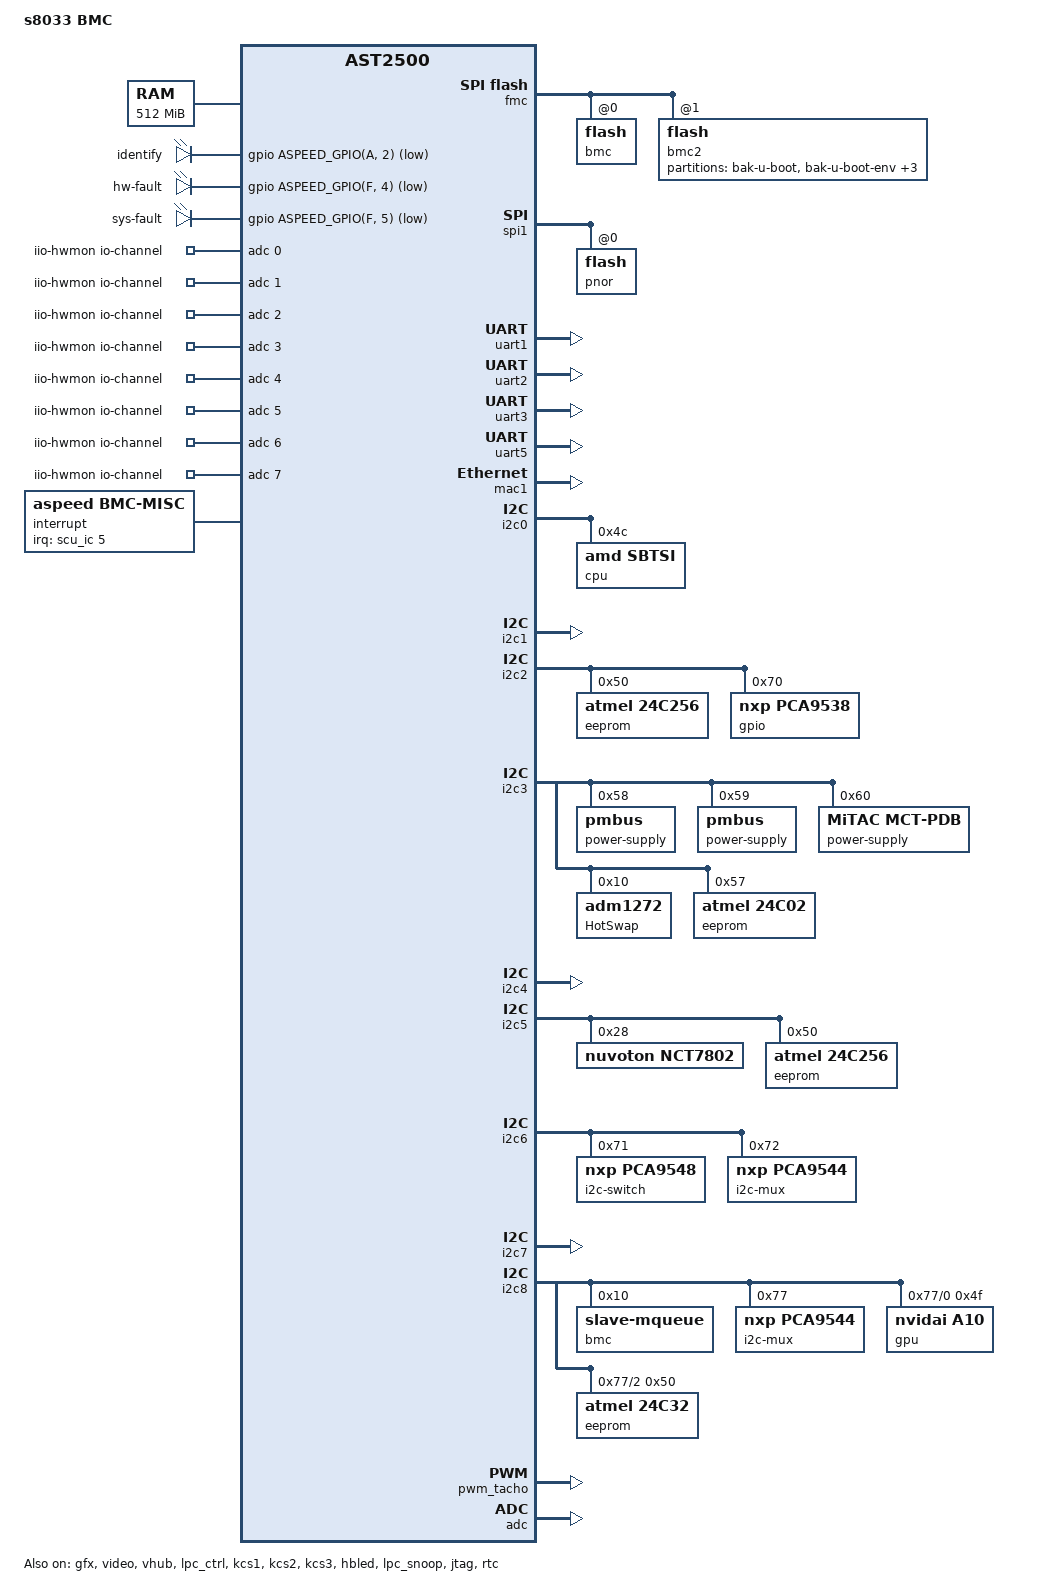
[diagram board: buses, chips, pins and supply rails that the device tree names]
// SPDX-License-Identifier: GPL-2.0
// Copyright (c) 2017 Intel Corporation
/dts-v1/;

#include "aspeed-g5.dtsi"
#include <dt-bindings/gpio/aspeed-gpio.h>

/ {
    model = "s8033 BMC";
    compatible = "mct,s8033-bmc", "aspeed,ast2500";

    chosen {
        stdout-path = &uart5;
        bootargs = "earlyprintk";
    };

    memory {
        reg = <0x80000000 0x20000000>;
    };

    reserved-memory {
        #address-cells = <1>;
        #size-cells = <1>;
        ranges;

		gfx_memory: framebuffer@96000000 {
			no-map;
			compatible = "shared-dma-pool";
			reg = <0x96000000 0x02000000>; /* 32M */
        };

        flash_memory: region@98000000 {
            no-map;
            reg = <0x98000000 0x02000000>; /* 32M */
        };

		ramoops@9c000000 {
			compatible = "ramoops";
			reg = <0x9b000000 0x180000>; /* 16 * (3 * 0x8000) */
			record-size = <0x8000>;
			console-size = <0x8000>;
			pmsg-size = <0x8000>;
			max-reason = <3>; /* KMSG_DUMP_EMERG */
		};

		vga_memory: framebuffer@9f000000 {
			no-map;
			compatible = "shared-dma-pool";
			reg = <0x9c000000 0x01000000>; /* 64M */
        };

    };

    vga-shared-memory {
        compatible = "aspeed,ast2500-vga-sharedmem";
        reg = <0x9ff00000 0x100000>;
    };

    leds {
        compatible = "gpio-leds";

        identify {
            gpios = <&gpio ASPEED_GPIO(A, 2) GPIO_ACTIVE_LOW>;
        };

        hw-fault {
            gpios = <&gpio ASPEED_GPIO(F, 4) GPIO_ACTIVE_LOW>;
        };

        sys-fault {
            gpios = <&gpio ASPEED_GPIO(F, 5) GPIO_ACTIVE_LOW>;
        };
    };

    iio-hwmon {
        compatible = "iio-hwmon";
        io-channels = <&adc 0>, <&adc 1>, <&adc 2>, <&adc 3>,
            <&adc 4>, <&adc 5>, <&adc 6>, <&adc 7>,
            <&adc 8>, <&adc 9>, <&adc 10>, <&adc 11>,
            <&adc 12>, <&adc 13>, <&adc 14>, <&adc 15>;
    };
};

&fmc {
    status = "okay";
    flash@0 {
        status = "okay";
        m25p,fast-read;
        label = "bmc";
#include "openbmc-flash-layout-64.dtsi"
    };

    flash@1 {
        status = "okay";
        m25p,fast-read;
        label = "bmc2";

        partitions {
            compatible = "fixed-partitions";
            #address-cells = <1>;
            #size-cells = <1>;

            u-boot@0 {
                reg = <0x0 0xe0000>; // 896KB
                label = "bak-u-boot";
            };

            u-boot-env@e0000 {
                reg = <0xe0000 0x20000>; // 128KB
                label = "bak-u-boot-env";
            };

            kernel@100000 {
                reg = <0x100000 0x900000>; // 9MB
                label = "bak-kernel";
            };

            rofs@a00000 {
                reg = <0xa00000 0x2000000>; // 32MB
                label = "bak-rofs";
            };

            rwfs@2a00000 {
                reg = <0x2a00000 0x1600000>; // 22MB
                label = "bak-rwfs";
            };
        };
	};
};

&spi1 {
    status = "okay";
    pinctrl-names = "default";
    pinctrl-0 = <&pinctrl_spi1_default>;

    flash@0 {
        status = "okay";
        m25p,fast-read;
        label = "pnor";
    };
};

&uart1 {
    status = "okay";
    pinctrl-names = "default";
    pinctrl-0 = <&pinctrl_txd1_default
                 &pinctrl_rxd1_default
                 &pinctrl_ncts1_default
                 &pinctrl_ndcd1_default
                 &pinctrl_ndsr1_default
                 &pinctrl_nri1_default
                 &pinctrl_ndtr1_default
                 &pinctrl_nrts1_default>;
};

&uart2 {
    status = "okay";
    pinctrl-names = "default";
    pinctrl-0 = <&pinctrl_txd2_default
                 &pinctrl_rxd2_default>;
};

&uart3 {
    status = "okay";
};

&uart5 {
    status = "okay";
};

&mac1 {
    status = "okay";

    pinctrl-names = "default";
    pinctrl-0 = <&pinctrl_rgmii2_default>;
};

&i2c0 {
    status = "okay";
    cpu@4c {
        compatible = "amd,sbtsi";
        reg = <0x4c>;
    };
};

&i2c1 {
    status = "okay";
};

&i2c2 {
    status = "okay";
    eeprom@50 {
        compatible = "atmel,24c256";
        reg = <0x50>;
        pagesize = <32>;
    };
    gpio@70 {
        compatible = "nxp,pca9538";
        reg = <0x70>;
        gpio-controller;
        #gpio-cells = <2>;
        gpio-line-names = "FAN_PRESENT0", "FAN_PRESENT1",
                          "FAN_PRESENT2", "FAN_PRESENT3",
                          "FAN_PRESENT4", "FAN_PRESENT5",
                          "FAN_PRESENT6", "FAN_PRESENT7";
    };
};

&i2c3 {
    status = "okay";
    power-supply@58 {
        compatible = "pmbus";
        reg = <0x58>;
    };
    power-supply@59 {
        compatible = "pmbus";
        reg = <0x59>;
    };
    power-supply@60 {
        compatible = "MiTAC,mct-pdb";
        reg = <0x60>;
    };
    HotSwap@10 {
        compatible = "adm1272";
        reg = <0x10>;
    };
    eeprom@57 {
        compatible = "atmel,24c02";
        reg = <0x57>;
        pagesize = <8>;
    };
};

&i2c4 {
    status = "okay";
};

&i2c5 {
    status = "okay";
    nct7802@28 {
        compatible = "nuvoton,nct7802";
        reg = <0x28>;
    };
    eeprom@50 {
        compatible = "atmel,24c256";
        reg = <0x50>;
        pagesize = <32>;
    };
};

&i2c6 {
    status = "okay";
    i2c-switch@71 {
        compatible = "nxp,pca9548";
        #address-cells = <1>;
        #size-cells = <0>;
        reg = <0x71>;
        i2c-mux-idle-disconnect;

        mux1_ch0:i2c@0 {
            #address-cells = <1>;
            #size-cells = <0>;
            reg = <0>;
        };

        mux1_ch1:i2c@1 {
            #address-cells = <1>;
            #size-cells = <0>;
            reg = <1>;
        };

        mux1_ch2:i2c@2 {
            #address-cells = <1>;
            #size-cells = <0>;
            reg = <2>;
        };

        mux1_ch3:i2c@3 {
            #address-cells = <1>;
            #size-cells = <0>;
            reg = <3>;
        };

        mux1_ch4:i2c@4 {
            #address-cells = <1>;
            #size-cells = <0>;
            reg = <4>;
        };

        mux1_ch5:i2c@5 {
            #address-cells = <1>;
            #size-cells = <0>;
            reg = <5>;
        };

        mux1_ch6:i2c@6 {
            #address-cells = <1>;
            #size-cells = <0>;
            reg = <6>;
        };

        mux1_ch7:i2c@7 {
            #address-cells = <1>;
            #size-cells = <0>;
            reg = <7>;
        };
    };
    i2c-mux@72 {
        compatible = "nxp,pca9544";
        #address-cells = <1>;
        #size-cells = <0>;
        reg = <0x72>;
        i2c-mux-idle-disconnect;

        i2c@0 {
            #address-cells = <1>;
            #size-cells = <0>;
            reg = <0>;
        };

        i2c@1 {
            #address-cells = <1>;
            #size-cells = <0>;
            reg = <1>;
        };

        i2c@2 {
            #address-cells = <1>;
            #size-cells = <0>;
            reg = <2>;
        };

        i2c@3 {
            #address-cells = <1>;
            #size-cells = <0>;
            reg = <3>;
        };
    };
};

&i2c7 {
    status = "okay";
    multi-master;
};

&i2c8 {
    status = "okay";
    multi-master;

    bmc@10 {
        compatible = ",slave-mqueue";
        reg = <0x10>;
    };

    i2c-mux@77 {
        compatible = "nxp,pca9544";
        #address-cells = <1>;
        #size-cells = <0>;
        reg = <0x77>;

        i2c@0 {
            #address-cells = <1>;
            #size-cells = <0>;
            reg = <0>;
            gpu@4f {
                compatible = "nvidai,a10";
                reg = <0x4f>;
            };
        };

        i2c@1 {
            #address-cells = <1>;
            #size-cells = <0>;
            reg = <1>;
        };

        i2c@2 {
            #address-cells = <1>;
            #size-cells = <0>;
            reg = <2>;

            eeprom@50 {
                compatible = "atmel,24c32";
                reg = <0x50>;
                pagesize = <32>;
            };
        };

        i2c@3 {
            #address-cells = <1>;
            #size-cells = <0>;
            reg = <3>;
        };
    };
    
};

&gfx {
       status = "okay";
       memory-region = <&gfx_memory>;
};

&video {
       status = "okay";
       memory-region = <&gfx_memory>;
};

&vhub {
       status = "okay";
};

&pwm_tacho {
    status = "okay";
    pinctrl-names = "default";
    pinctrl-0 = <&pinctrl_pwm0_default &pinctrl_pwm1_default &pinctrl_pwm2_default &pinctrl_pwm3_default &pinctrl_pwm4_default &pinctrl_pwm5_default>;
    sysfan1@0 {
        reg = <0x00>;
        aspeed,fan-tach-ch = /bits/ 8 <0x00>;
    };

    sysfan2@1 {
        reg = <0x01>;
        aspeed,fan-tach-ch = /bits/ 8 <0x01>;
    };

    sysfan3@2 {
        reg = <0x02>;
        aspeed,fan-tach-ch = /bits/ 8 <0x02>;
    };

    sysfan4@3 {
        reg = <0x02>;
        aspeed,fan-tach-ch = /bits/ 8 <0x03>;
    };

    sysfan5@4 {
        reg = <0x03>;
        aspeed,fan-tach-ch = /bits/ 8 <0x04>;
    };

    sysfan6@5 {
        reg = <0x03>;
        aspeed,fan-tach-ch = /bits/ 8 <0x05>;
    };

    sysfan7@6 {
        reg = <0x04>;
        aspeed,fan-tach-ch = /bits/ 8 <0x06>;
    };

    sysfan8@7 {
        reg = <0x05>;
        aspeed,fan-tach-ch = /bits/ 8 <0x07>;
    };

    sysfan9@8 {
        reg = <0x00>;
        aspeed,fan-tach-ch = /bits/ 8 <0x08>;
    };

    sysfan10@9 {
        reg = <0x01>;
        aspeed,fan-tach-ch = /bits/ 8 <0x09>;
    };

    sysfan11@10 {
        reg = <0x02>;
        aspeed,fan-tach-ch = /bits/ 8 <0x0A>;
    };

    sysfan12@11 {
        reg = <0x02>;
        aspeed,fan-tach-ch = /bits/ 8 <0x0B>;
    };

    sysfan13@12 {
        reg = <0x03>;
        aspeed,fan-tach-ch = /bits/ 8 <0x0C>;
    };

    sysfan14@13 {
        reg = <0x03>;
        aspeed,fan-tach-ch = /bits/ 8 <0x0D>;
    };

    sysfan15@14 {
        reg = <0x04>;
        aspeed,fan-tach-ch = /bits/ 8 <0x0E>;
    };

    sysfan16@15 {
        reg = <0x05>;
        aspeed,fan-tach-ch = /bits/ 8 <0x0F>;
    };
};

&lpc_ctrl {
    status = "okay";
    memory-region = <&flash_memory>;
    flash = <&spi1>;
};

&adc {
    status = "okay";
};

&kcs1 {
    status = "okay";
    aspeed,lpc-io-reg = <0xca0>;
};

&kcs2 {
    status = "okay";
    aspeed,lpc-io-reg = <0xca8>;
};

&kcs3 {
    status = "okay";
    aspeed,lpc-io-reg = <0xca2>;
};

&hbled {
    status = "okay";
};

&gpio {
    status = "okay";

    pinctrl-names = "pass-through";
    pinctrl-0 = <&pinctrl_gpie0_default
                 &pinctrl_gpie2_default>;

    gpio-line-names =
    /*A0-A7*/   "","","","SYS_AC_LOSS","","","","",
    /*B0-B7*/   "","","","","","","","",
    /*C0-C7*/   "","","","","","","","",
    /*D0-D7*/   "","","PS_PWROK","","","","","",
    /*E0-E7*/   "POWER_BUTTON","PWRBTN_OUT","RESET_BUTTON","RSTBTN_OUT","NMI_BUTTON","NMI_OUT","","",
    /*F0-F7*/   "","CLR_CMOS","BUTTON_LOCK","","","","","",
    /*G0-G7*/   "JTAG_MUX_S","JTAG_MUX_OE","HDT_SEL","JTAG_OE_N","","","JTAG_HDR_N_S","HDT_DBREQ",
    /*H0-H7*/   "CPU_VRHOT","SOC_VRHOT","","MEM_ABCD_VRHOT","MEM_EFGH_VRHOT","","PROCHOT","THERMTRIP",
    /*I0-I7*/   "","","","","","","","",
    /*J0-J7*/   "","","","BIOS_SLECT","","","","",
    /*K0-K7*/   "","","","","","","","",
    /*L0-L7*/   "","","","","","","","",
    /*M0-M7*/   "","","","","","","","",
    /*N0-N7*/   "","","","","","","","",
    /*O0-O7*/   "","","","","","","","",
    /*P0-P7*/   "","","","","","","","",
    /*Q0-Q7*/   "","","","","","","ID_BUTTON","",
    /*R0-R7*/   "","","","BAT_MON","","","","",
    /*S0-S7*/   "","","","","","","","",
    /*T0-T7*/   "","","","","","","","",
    /*U0-U7*/   "","","","","","","","",
    /*V0-V7*/   "","","","","","","","",
    /*W0-W7*/   "","","","","","","","",
    /*X0-X7*/   "","","","","","","","",
    /*Y0-Y7*/   "POST_START","POST_COMPLETE","","","","","","",
    /*Z0-Z7*/   "","PSU1_AC_LOSS","PSU2_AC_LOSS","","","","","",
    /*AA0-AA7*/ "","","","","","ASSERT_PROCHOT","","BMC_READY",
    /*AB0-AB7*/ "","","","","","","","",
    /*AC0-AC7*/ "","","","","","","","";
};

&lpc_snoop {
    status = "okay";
    snoop-ports = <0x80 0x81>;
    clocks = <&syscon ASPEED_CLK_GATE_LCLK>;
};

&jtag {
    status = "okay";
};

&rtc {
    status = "okay";
};

&lpc {
    interrupt {
        status = "okay";
        compatible = "aspeed,bmc-misc";
        interrupts-extended = <&scu_ic 5>;
        lpc-rst {
            offset = <0x08>;
            bit-mask = <1>;
            bit-shift = <6>;
        };
    };
};

&wdt2 {
	aspeed,alt-boot;
};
